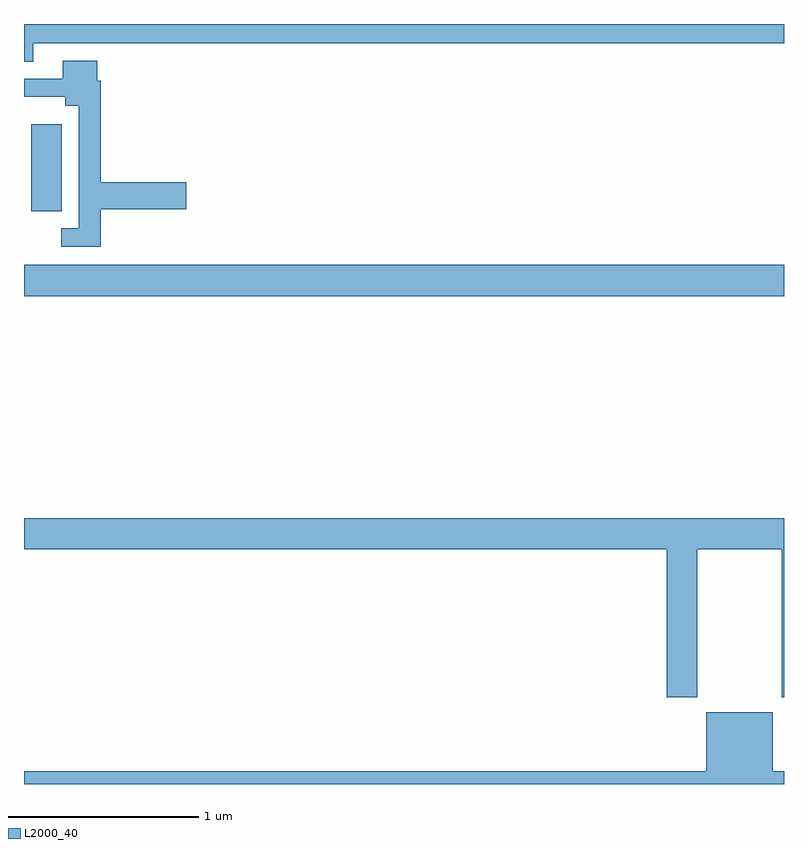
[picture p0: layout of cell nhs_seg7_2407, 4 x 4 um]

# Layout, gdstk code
import gdstk
lib = gdstk.Library(unit=1e-6, precision=1e-09)
def R(c, l, rs):  # rectangles x0, y0, x1, y1
    for r in rs: c.add(gdstk.rectangle(r[:2], r[2:], *l))
def P(c, l, *ps):  # polygons
    for p in ps: c.add(gdstk.Polygon(p, *l))
L2000_40 = (2000, 40)

nhs_seg7_2407 = lib.new_cell('nhs_seg7_2407')
R(nhs_seg7_2407, L2000_40, [(267,1048.568,271,1048.732), (267.038,1049.015,267.199,1049.473)])
P(nhs_seg7_2407, L2000_40, [(267.049,1049.9),(271,1049.9),(271,1050),(267,1050),(267,1049.801),(267.049,1049.801)],
  [(267.404,1049.026),(267.853,1049.026),(267.853,1049.168),(267.404,1049.168),(267.404,1049.702),(267.385,1049.702),(267.385,1049.806),(267.203,1049.806),(267.203,1049.712),(267,1049.712),(267,1049.616),(267.218,1049.616),(267.218,1049.57),(267.288,1049.57),(267.288,1048.924),(267.195,1048.924),(267.195,1048.827),(267.404,1048.827)],
  [(267,1047.236),(270.383,1047.236),(270.383,1046.457),(270.543,1046.457),(270.543,1047.236),(270.988,1047.236),(270.988,1046.457),(271,1046.457),(271,1047.4),(267,1047.4)],
  [(267,1046),(271,1046),(271,1046.068),(270.94,1046.068),(270.94,1046.377),(270.59,1046.377),(270.59,1046.068),(267,1046.068)])

lib.write_gds('nhs_seg7_2407.gds')
